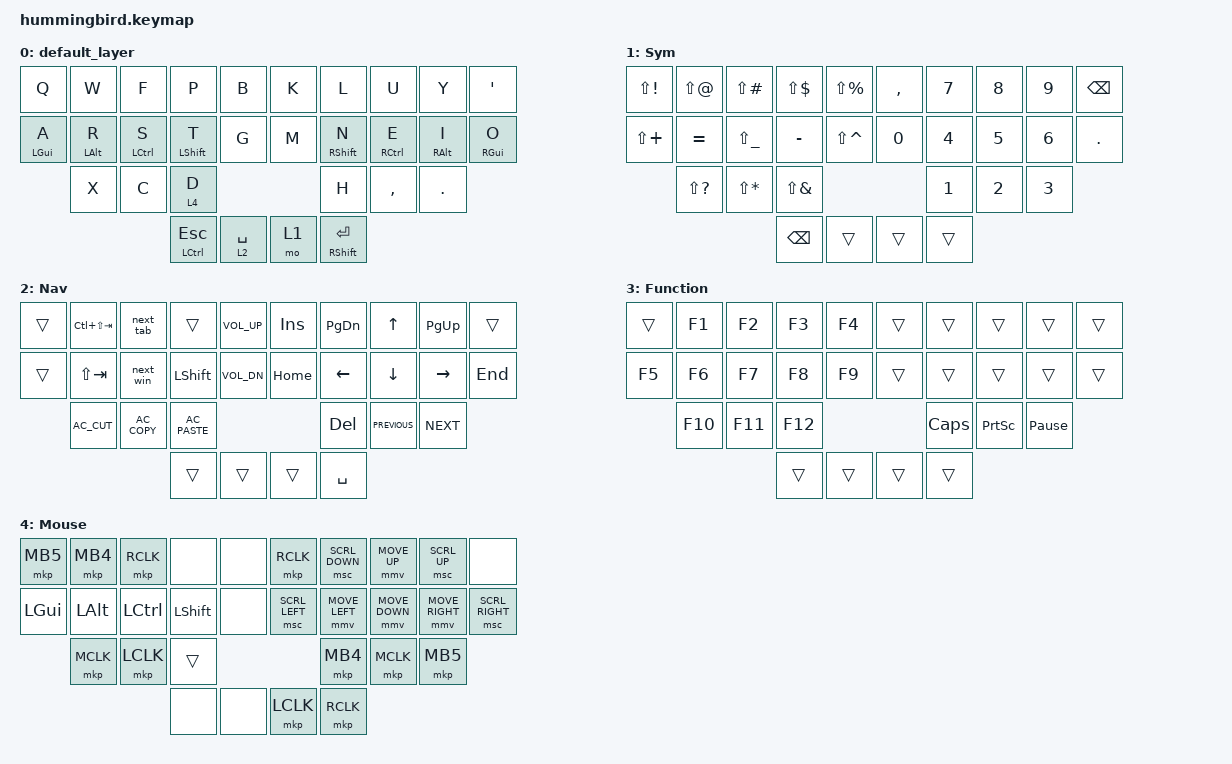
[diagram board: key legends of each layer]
/*
 * Copyright (c) 2020 The ZMK Contributors
 *
 * SPDX-License-Identifier: MIT
 */

#define ZMK_POINTING_DEFAULT_MOVE_VAL 1000
#define ZMK_POINTING_DEFAULT_SCRL_VAL 15

#include <behaviors.dtsi>
#include <dt-bindings/zmk/keys.h>
#include <dt-bindings/zmk/pointing.h>

#define DEF_L 0
#define NAV_L 1
#define NUM_L 2
#define SYM_L 3
#define OTH_L 4

// Using layer taps on thumbs, having quick tap as well helps w/ repeating space/backspace

&lt { quick_tap_ms = <200>; };

/ {
    behaviors {
        hm: homerow_mods {
            compatible = "zmk,behavior-hold-tap";
            label = "homerow mods";
            #binding-cells = <2>;
            tapping_term_ms = <225>;
            flavor = "tap-preferred";
            bindings = <&kp>, <&kp>;
        };

        next_tab: next_tab {
            compatible = "zmk,behavior-smart-toggle";
            #binding-cells = <0>;
            bindings = <&kp LCTRL>, <&kp TAB>;
            ignored-key-positions = <1>;
        };

        next_win: next_win {
            compatible = "zmk,behavior-smart-toggle";
            #binding-cells = <0>;
            bindings = <&kp LALT>, <&kp TAB>;
            ignored-key-positions = <11>;
        };
    };

    combos {
        compatible = "zmk,combos";

        /* ====== Default Layer ====== */
        /* ====== Number Layer ====== */

        q {
            bindings = <&kp Q>;
            key-positions = <1 2>;
            layers = <0>;
        };

        j {
            bindings = <&kp J>;
            key-positions = <2 3>;
            layers = <0>;
        };

        lbrk {
            bindings = <&kp LEFT_BRACKET>;
            key-positions = <11 12>;
        };

        tab {
            bindings = <&kp TAB>;
            key-positions = <12 13>;
        };

        z {
            bindings = <&kp Z>;
            key-positions = <20 21>;
            layers = <0>;
        };

        v {
            bindings = <&kp V>;
            key-positions = <22 21>;
            layers = <0>;
        };

        mouse {
            bindings = <&tog 4>;
            key-positions = <20 22>;
        };

        quot {
            bindings = <&kp SQT>;
            key-positions = <6 7>;
        };

        grave {
            bindings = <&kp GRAVE>;
            key-positions = <7 8>;
        };

        bksp {
            bindings = <&kp BACKSPACE>;
            key-positions = <16 17>;
        };

        rbrk {
            bindings = <&kp RBKT>;
            key-positions = <17 18>;
        };

        bslsh {
            bindings = <&kp BACKSLASH>;
            key-positions = <23 24>;
        };

        slsh {
            bindings = <&kp SLASH>;
            key-positions = <24 25>;
        };

        scln {
            bindings = <&kp SEMI>;
            key-positions = <23 25>;
        };

        esc {
            bindings = <&kp ESC>;
            key-positions = <11 12 13>;
        };

        entr {
            bindings = <&kp ENTER>;
            key-positions = <16 17 18>;
        };

        lpar {
            bindings = <&kp LPAR>;
            key-positions = <11 13>;
        };

        rpar {
            bindings = <&kp RPAR>;
            key-positions = <16 18>;
        };

        caps_word {
            bindings = <&caps_word>;
            key-positions = <13 16>;
        };

        excl {
            bindings = <&kp EXCL>;
            key-positions = <3 2>;
            layers = <1>;
        };

        boot {
            bindings = <&bootloader>;
            key-positions = <26 29>;
            layers = <3>;
        };

        boot2 {
            bindings = <&bootloader>;
            key-positions = <4 5>;
            layers = <3>;
        };

        play {
            bindings = <&kp C_PLAY_PAUSE>;
            key-positions = <4 14>;
            layers = <2>;
        };
    };
};

/ {
    keymap {
        compatible = "zmk,keymap";

        /*              +-----+                             +-----+  
          +-----+  R  +-----+                 +-----+  U  +-----+
    +-----+  D  +-----+  W  +-----+     +-----+  F  +-----+  P  +-----+
    | TAB +-----+S[H] +-----+  B  |     |  J  +-----+S[E] +-----+ B.S |
    +-----+A[S] +-----+C[T] +-----+     +-----+C[N] +-----+A[O] +-----+
    |G[A] +-----+  V  +-----+  G  |     |  Y  +-----+  K  +-----+G[I] |
    +-----+  C  +-----+  M  +-----+     +-----+  L  +-----+  .  +-----+
          +-----+     +-----+       STD       +-----+     +-----+
                        +-----+              +-----+
                        |[SYM]+-----+  +-----+[OTH]|
                        | TAB |[NUM]|  |[NAV]+ RET |
                        +-----+ SPC |  | SPC +-----+
                              +-----+  +-----+                        */

        default_layer {
            bindings = <
&kp Q       &kp W       &kp F        &kp P             &kp B          &kp K  &kp L          &kp U        &kp Y       &kp SQT
&hm LGUI A  &hm LALT R  &hm LCTRL S  &hm LEFT_SHIFT T  &kp G          &kp M  &hm RSHFT N    &hm RCTRL E  &hm RALT I  &hm RGUI O
            &kp X       &kp C        &lt 4 D                                 &kp H          &kp COMMA    &kp DOT
                                     &mt LCTRL ESC     &lt 2 SPACE    &mo 1  &mt RSHFT RET
            >;
        };

        /*              +-----+                             +-----+  
          +-----+ F9  +-----+                 +-----+  ^  +-----+
    +-----+ F8  +-----+ F10 +-----+     +-----+ Hme +-----+ End +-----+
    | F7  +-----+ > < +-----+ F11 |     | P.U +-----+  v  +-----+     |
    +-----+ > < +-----+ > < +-----+     +-----+  <  +-----+  >  +-----+
    | > < +-----+COPY +-----+ F12 |     | P.D +-----+     +-----+ DEL |
    +-----+ CUT +-----+PASTE+-----+     +-----+ INS +-----+     +-----+
          +-----+     +-----+       NAV       +-----+     +-----+
                        +-----+             +-----+
                        |UNDO +-----+ +=====+ DEL |
                        +-----+REDO | | NAV +-----+
                              +-----+ +=====+         */

        sym_layer {
            label = "Sym";
            bindings = <
&kp LS(EXCL)  &kp LS(AT)     &kp LS(POUND)  &kp LS(DLLR)  &kp LS(PRCNT)    &kp COMMA  &kp N7  &kp N8  &kp N9  &kp BKSP
&kp LS(PLUS)  &kp EQUAL      &kp LS(UNDER)  &kp MINUS     &kp LS(CARET)    &kp N0     &kp N4  &kp N5  &kp N6  &kp DOT
              &kp LS(QMARK)  &kp LS(STAR)   &kp LS(AMPS)                              &kp N1  &kp N2  &kp N3
                                            &kp BSPC      &trans           &trans     &trans
            >;
        };

        /*              +-----+                             +-----+  
          +-----+ F3  +-----+                 +-----+  8  +-----+
    +-----+ F2  +-----+ F4  +-----+     +-----+  7  +-----+  9  +-----+
    | F1  +-----+ > < +-----+ F5  |     |  #  +-----+  5  +-----+ DEL |
    +-----+ > < +-----+ > < +-----+     +-----+  4  +-----+  6  +-----+
    | > < +-----+     +-----+ F6  |     |  .  +-----+  2  +-----+  0  |
    +-----+     +-----+     +-----+     +-----+  1  +-----+  3  +-----+
          +-----+     +-----+       NUM       +-----+     +-----+
                        +-----+             +-----+
                        |     +=====+ +-----+  =  |
                        +-----+ NUM | |     +-----+
                              +=====+ +-----+         */

        nav_layer {
            label = "Nav";
            bindings = <
&trans  &kp LC(LS(TAB))        &next_tab         &trans          &kp C_VOLUME_UP    &kp INS   &kp PG_DN   &kp UP          &kp PG_UP   &trans
&trans  &kp LS(TAB)        &next_win         &kp LSHFT       &kp C_VOL_DN       &kp HOME  &kp LEFT    &kp DOWN        &kp RIGHT   &kp END
        &kp C_AC_CUT  &kp C_AC_COPY  &kp C_AC_PASTE                               &kp DELETE  &kp C_PREVIOUS  &kp C_NEXT
                                     &trans          &trans             &trans    &kp SPACE
            >;
        };

        fn_layer {
            bindings = <
&trans  &kp F1   &kp F2   &kp F3   &kp F4    &trans  &trans    &trans           &trans           &trans
&kp F5  &kp F6   &kp F7   &kp F8   &kp F9    &trans  &trans    &trans           &trans           &trans
        &kp F10  &kp F11  &kp F12                    &kp CAPS  &kp PRINTSCREEN  &kp PAUSE_BREAK
                          &trans   &trans    &trans  &trans
            >;

            label = "Function";
        };

        mouse_layer {
            bindings = <
&mkp MB5  &mkp MB4   &mkp RCLK  &none      &none    &mkp RCLK       &msc SCRL_DOWN  &mmv MOVE_UP    &msc SCRL_UP     &none
&kp LGUI  &kp LALT   &kp LCTRL  &kp LSHFT  &none    &msc SCRL_LEFT  &mmv MOVE_LEFT  &mmv MOVE_DOWN  &mmv MOVE_RIGHT  &msc SCRL_RIGHT
          &mkp MCLK  &mkp LCLK  &trans                              &mkp MB4        &mkp MCLK       &mkp MB5
                                &none      &none    &mkp LCLK       &mkp RCLK
            >;

            label = "Mouse";
        };

        /*              +-----+                             +-----+  
          +-----+  *  +-----+                 +-----+  }  +-----+
    +-----+  &  +-----+  (  +-----+     +-----+  {  +-----+  +  +-----
    |  {  +-----+  %  +-----+  }  |     |  /  +-----+  )  +-----+     |
    +-----+  $  +-----+  ^  +-----+     +-----+  (  +-----+  -  +-----+
    |  :  +-----+  @  +-----+  +  |     |  \  +-----+  ]  +-----+  =  |
    +-----+  !  +-----+  #  +-----+     +-----+  [  +-----+  *  +-----+
          +-----+     +-----+       SYM       +-----+     +-----+
                        +=====+             +-----+
                        | SYM +-----+ +-----+     |
                        +=====+     | |     +-----+
                              +-----+ +-----+        */
        /*              +-----+                             +-----+  
          +-----+  {  +-----+                 +-----+     +-----+
    +-----+     +-----+  }  +-----+     +-----+     +-----+     +-----+
    |     +-----+  (  +-----+     |     |     +-----+     +-----+     |
    +-----+     +-----+  )  +-----+     +-----+     +-----+     +-----+
    |     +-----+  [  +-----+     |     |     +-----+     +-----+     |
    +-----+     +-----+  ]  +-----+     +-----+     +-----+     +-----+
          +-----+     +-----+       OTH       +-----+     +-----+
                        +-----+             +=====+
                        |     +-----+ +-----+ OTH |
                        +-----+     | |     +=====+
                              +-----+ +-----+         */
    };

    conditional_layers {
        compatible = "zmk,conditional-layers";

        tri {
            if-layers = <1 2>;
            then-layer = <3>;
        };
    };
};
